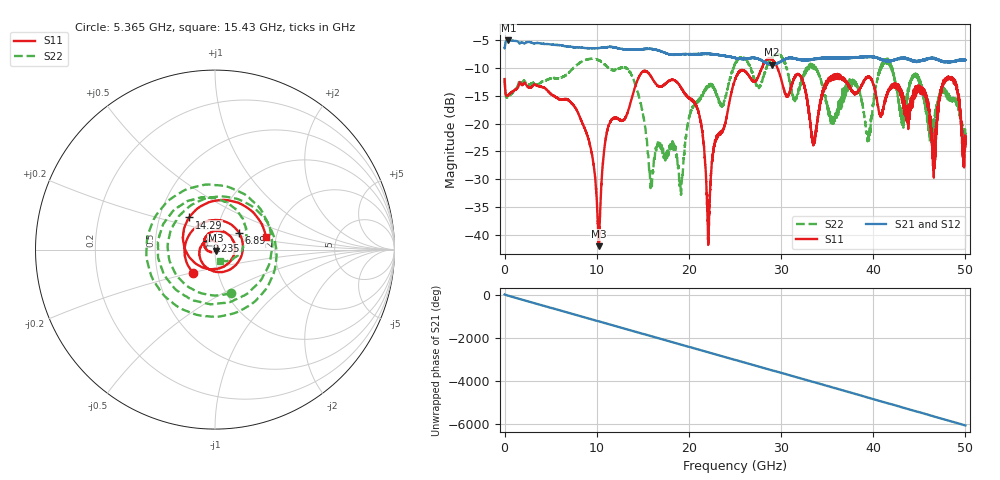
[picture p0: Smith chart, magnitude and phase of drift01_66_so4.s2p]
!Created with skrf (http://scikit-rf.org).
# Hz S RI R 50.0
!freq ReS11 ImS11 ReS21 ImS21 ReS12 ImS12 ReS22 ImS22
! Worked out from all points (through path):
!   10001 points, 300 kHz to 50 GHz, reference 50 ohm
!   highest |S21| = -5.05 dB at 410.3 MHz (marker M1); lowest = -9.4 dB at 28.97 GHz (marker M2)
!   group delay of S21, straight-line fit = 336 ps
!   lowest |S11| = -42.1 dB at 10.22 GHz (marker M3), VSWR 1.02, Z = 50.5 - j0.593 ohm
!   |S11| at or under -10 dB: start of sweep to 27.9 GHz; 29.6 GHz to end of sweep
!   |S22| runs from -32.8 to -7.5 dB; largest |S21 - S12| = 0.013
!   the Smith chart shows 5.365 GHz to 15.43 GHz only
!   S11 on the Smith chart (normalised r, x): 5.365 GHz: 0.76, -0.20; 6.89 GHz: 1.29, +0.24; 9.235 GHz: 0.91, +0.09; 14.29 GHz: 0.71, +0.27; 15.43 GHz: 1.77, +0.28
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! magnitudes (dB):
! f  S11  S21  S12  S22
! 300 kHz  -12.0  -6.5  -6.5  -11.8
! 410.3 MHz  -14.8  -5.1  -5.0  -15.1
! 5.365 GHz  -15.0  -5.8  -5.8  -11.8
! 6.89 GHz  -15.8  -6.1  -6.1  -11.0
! 8.335 GHz  -19.5  -6.4  -6.3  -8.9
! 9.235 GHz  -23.6  -6.4  -6.4  -8.4
! 10.22 GHz  -42.1  -6.4  -6.4  -8.6
! 11.23 GHz  -20.7  -6.3  -6.2  -9.9
! 14.29 GHz  -12.8  -6.7  -6.7  -13.5
! 15.43 GHz  -10.7  -6.6  -6.6  -22.9
! 16.67 GHz  -13.3  -6.8  -6.8  -23.3
! 19.14 GHz  -13.5  -7.5  -7.5  -32.8
! 20.85 GHz  -17.0  -7.6  -7.5  -16.0
! 22.12 GHz  -40.9  -7.5  -7.4  -13.3
! 25 GHz  -12.1  -8.2  -8.2  -9.4
! 28.97 GHz  -8.4  -9.4  -9.3  -8.2
! 33.34 GHz  -22.6  -8.5  -8.4  -9.6
! 39.46 GHz  -11.6  -7.9  -8.0  -21.9
! 41.67 GHz  -13.8  -8.7  -8.7  -9.2
! 46.54 GHz  -26.6  -8.3  -8.3  -20.9
! 48.56 GHz  -12.0  -8.8  -8.8  -15.7
! 50 GHz  -24.1  -8.6  -8.6  -22.5
